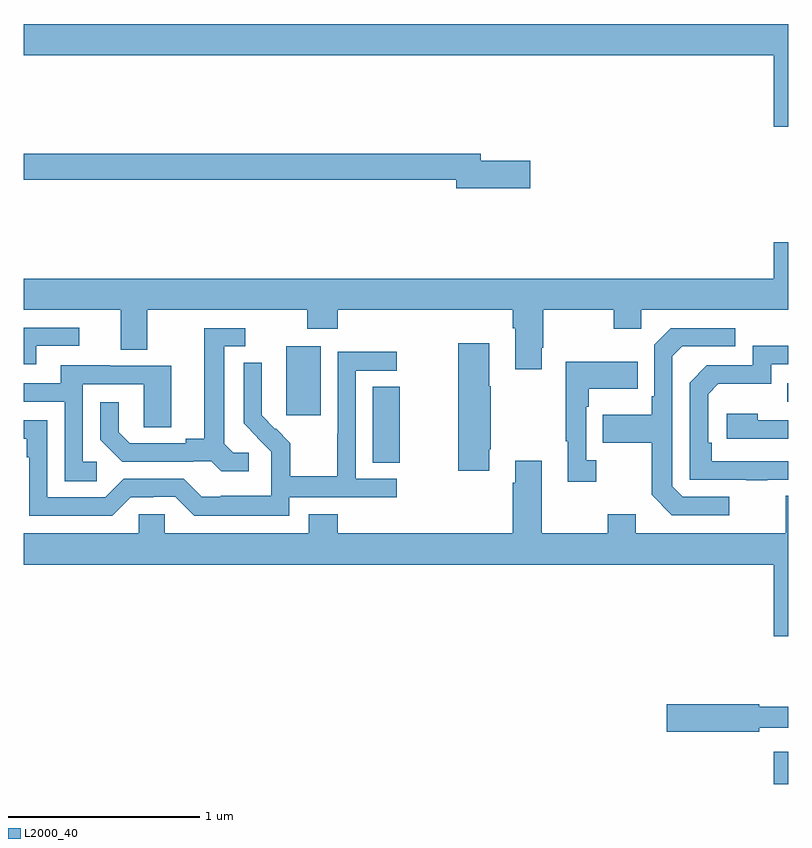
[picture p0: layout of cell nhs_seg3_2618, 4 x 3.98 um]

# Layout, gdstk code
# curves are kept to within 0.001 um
import gdstk
lib = gdstk.Library(unit=1e-6, precision=1e-09)
def R(c, l, rs):  # rectangles x0, y0, x1, y1
    for r in rs: c.add(gdstk.rectangle(r[:2], r[2:], *l))
def P(c, l, *ps):  # polygons
    for p in ps: c.add(gdstk.Polygon(p, *l))
L2000_40 = (2000, 40)

nhs_seg3_2618 = lib.new_cell('nhs_seg3_2618')
R(nhs_seg3_2618, L2000_40, [(248.924,734.4,249,734.569), (246.827,736.081,246.966,736.478), (246.374,736.329,246.553,736.69), (248.995,736.401,249,736.497)])
P(nhs_seg3_2618, L2000_40, [(249,738.376),(245,738.376),(245,738.212),(248.924,738.212),(248.924,737.838),(249,737.838)],
  [(247.651,737.66),(247.39,737.66),(247.39,737.696),(245,737.696),(245,737.56),(247.262,737.56),(247.262,737.518),(247.651,737.518)],
  [(247.711,736.681),(247.719,736.681),(247.719,736.88),(248.086,736.88),(248.086,736.781),(248.232,736.781),(248.232,736.88),(249,736.88),(249,737.233),(248.924,737.233),(248.924,737.044),(245,737.044),(245,736.88),(245.507,736.88),(245.507,736.672),(245.647,736.672),(245.647,736.88),(246.484,736.88),(246.484,736.781),(246.644,736.781),(246.644,736.88),(247.559,736.88),(247.559,736.784),(247.571,736.784),(247.571,736.569),(247.711,736.569)],
  [(245.065,736.692),(245.29,736.692),(245.29,736.788),(245,736.788),(245,736.596),(245.065,736.596)],
  [(246.178,736.134),(246.096,736.134),(246.049,736.181),(246.049,736.689),(246.16,736.689),(246.16,736.785),(245.945,736.785),(245.945,736.205),(245.849,736.205),(245.849,736.182),(245.554,736.182),(245.497,736.239),(245.497,736.396),(245.4,736.396),(245.4,736.202),(245.516,736.086),(245.888,736.086),(245.888,736.089),(245.982,736.089),(246.034,736.037),(246.178,736.037)],
  [(248.692,735.903),(248.448,735.903),(248.394,735.957),(248.394,736.638),(248.445,736.689),(248.722,736.689),(248.722,736.785),(248.385,736.785),(248.298,736.698),(248.298,736.429),(248.286,736.429),(248.286,736.333),(248.029,736.333),(248.029,736.186),(248.286,736.186),(248.286,735.913),(248.391,735.807),(248.692,735.807)],
  [(247.435,736.15),(247.443,736.15),(247.443,736.481),(247.435,736.481),(247.435,736.705),(247.273,736.705),(247.273,736.038),(247.435,736.038)],
  [(248.891,735.993),(249,735.993),(249,736.089),(248.6,736.089),(248.6,736.186),(248.58,736.186),(248.58,736.44),(248.633,736.493),(248.91,736.493),(248.91,736.596),(249,736.596),(249,736.692),(248.814,736.692),(248.814,736.59),(248.574,736.59),(248.484,736.5),(248.484,735.993),(248.779,735.993),(248.779,735.988),(248.891,735.988)],
  [(246.39,735.9),(246.952,735.9),(246.952,735.996),(246.738,735.996),(246.738,736.563),(246.952,736.563),(246.952,736.662),(246.642,736.662),(246.642,736.232),(246.64,736.232),(246.64,736.009),(246.395,736.009),(246.395,736.183),(246.318,736.26),(246.315,736.257),(246.245,736.328),(246.246,736.604),(246.15,736.604),(246.15,736.286),(246.296,736.138),(246.296,736.041),(246.294,736.041),(246.294,735.907),(246.031,735.907),(246.031,735.903),(245.931,735.903),(245.838,735.996),(245.523,735.996),(245.427,735.9),(245.124,735.9),(245.124,736.302),(245,736.302),(245,736.206),(245.015,736.206),(245.015,736.109),(245.028,736.109),(245.028,735.804),(245.463,735.804),(245.559,735.9),(245.678,735.9),(245.678,735.903),(245.793,735.903),(245.893,735.803),(246.39,735.803)],
  [(247.996,736.094),(247.944,736.094),(247.944,736.373),(247.957,736.373),(247.957,736.469),(248.213,736.469),(248.213,736.609),(247.836,736.609),(247.836,736.193),(247.847,736.193),(247.847,735.981),(247.996,735.981)],
  [(245.383,736.086),(245.31,736.086),(245.31,736.491),(245.628,736.491),(245.628,736.267),(245.773,736.267),(245.773,736.587),(245.449,736.587),(245.449,736.591),(245.195,736.591),(245.195,736.497),(245,736.497),(245,736.401),(245.214,736.401),(245.214,735.985),(245.383,735.985)],
  [(249,736.302),(248.84,736.302),(248.84,736.336),(248.679,736.336),(248.679,736.206),(249,736.206)],
  [(249,735.907),(248.987,735.907),(248.987,735.712),(248.203,735.712),(248.203,735.811),(248.056,735.811),(248.056,735.712),(247.711,735.712),(247.711,736.09),(247.571,736.09),(247.571,735.977),(247.559,735.977),(247.559,735.712),(246.644,735.712),(246.644,735.811),(246.491,735.811),(246.491,735.712),(245.739,735.712),(245.739,735.81),(245.601,735.81),(245.601,735.712),(245,735.712),(245,735.548),(248.924,735.548),(248.924,735.174),(249,735.174)],
  [(248.848,734.694),(249,734.694),(249,734.803),(248.848,734.803),(248.848,734.816),(248.364,734.816),(248.364,734.674),(248.848,734.674)])

lib.write_gds('nhs_seg3_2618.gds')
